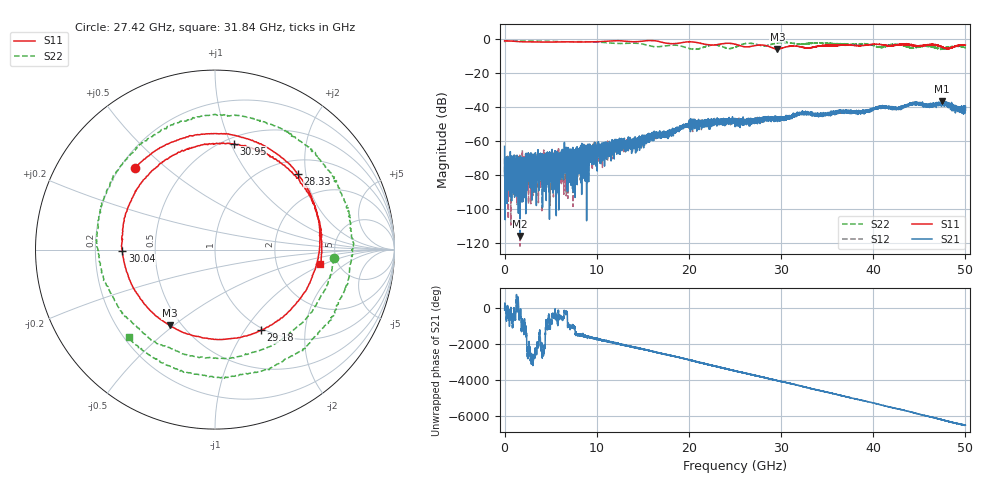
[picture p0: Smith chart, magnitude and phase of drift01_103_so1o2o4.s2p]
!Created with skrf (http://scikit-rf.org).
# Hz S RI R 50.0
!freq ReS11 ImS11 ReS21 ImS21 ReS12 ImS12 ReS22 ImS22
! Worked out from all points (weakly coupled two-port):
!   10001 points, 300 kHz to 50 GHz, reference 50 ohm
!   highest |S21| = -36.90 dB at 47.48 GHz (marker M1); lowest = -115.8 dB at 1.69 GHz (marker M2)
!   lowest |S11| = -6.2 dB at 29.61 GHz (marker M3), VSWR 2.93, Z = 21.7 - j24.1 ohm
!   |S11| at or under -10 dB: nowhere
!   |S22| runs from -6.4 to -1.4 dB; largest |S21 - S12| = 0.0041
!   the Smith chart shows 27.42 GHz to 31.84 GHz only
!   S11 on the Smith chart (normalised r, x): 27.42 GHz: 0.26, +0.40; 28.33 GHz: 1.31, +1.80; 29.18 GHz: 0.97, -1.19; 30.04 GHz: 0.32, -0.01; 30.95 GHz: 0.56, +1.02; 31.84 GHz: 3.65, -0.93
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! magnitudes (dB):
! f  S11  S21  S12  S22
! 300 kHz  -1.3  -63.3  -70.4  -2.2
! 300.3 MHz  -1.4  -70.8  -75.0  -1.4
! 1.69 GHz  -1.8  -115.8  -87.2  -1.4
! 4.84 GHz  -2.1  -89.8  -74.3  -1.6
! 8.335 GHz  -2.0  -70.1  -69.0  -1.8
! 16.67 GHz  -1.6  -57.9  -56.8  -4.8
! 18.62 GHz  -2.9  -53.1  -53.6  -3.9
! 20.3 GHz  -1.9  -50.0  -49.5  -6.1
! 22.62 GHz  -3.8  -49.2  -50.3  -3.8
! 25 GHz  -3.3  -49.4  -48.7  -5.1
! 27.42 GHz  -3.9  -47.1  -48.8  -3.6
! 28.33 GHz  -4.1  -47.0  -46.8  -4.3
! 29.18 GHz  -5.7  -46.3  -47.7  -3.1
! 29.61 GHz  -6.2  -47.0  -46.4  -2.5
! 30.04 GHz  -5.7  -47.2  -46.5  -2.3
! 30.95 GHz  -4.5  -45.6  -45.7  -2.5
! 31.84 GHz  -4.5  -44.6  -44.3  -3.3
! 33.34 GHz  -5.3  -43.6  -44.1  -2.6
! 41.67 GHz  -4.2  -40.5  -40.2  -4.2
! 47.48 GHz  -5.0  -36.9  -38.9  -6.2
! 49.44 GHz  -4.0  -40.7  -42.4  -4.6
! 50 GHz  -3.8  -39.8  -42.3  -5.3
